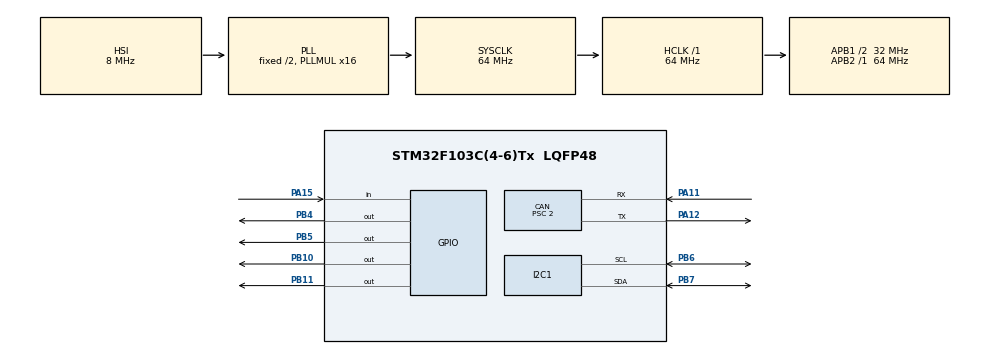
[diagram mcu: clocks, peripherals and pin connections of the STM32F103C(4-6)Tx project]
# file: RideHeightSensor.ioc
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CAN.BS1=CAN_BS1_13TQ
CAN.BS2=CAN_BS2_2TQ
CAN.CalculateBaudRate=1000000
CAN.CalculateTimeBit=1000
CAN.CalculateTimeQuantum=62.5
CAN.Prescaler=2
Mcu.Family=STM32F1
Mcu.Name=STM32F103C(4-6)Tx
Mcu.Package=LQFP48
NVIC.PriorityGroup=NVIC_PRIORITYGROUP_4
PA11.Mode=CAN_Activate
PA11.Signal=CAN_RX
PA12.Mode=CAN_Activate
PA12.Signal=CAN_TX
PA13.Mode=Serial_Wire
PA13.Signal=SYS_JTMS-SWDIO
PA14.Mode=Serial_Wire
PA14.Signal=SYS_JTCK-SWCLK
PA15.Signal=GPIO_Input
PB10.Signal=GPIO_Output
PB11.Signal=GPIO_Output
PB4.Signal=GPIO_Output
PB5.Signal=GPIO_Output
PB6.Mode=I2C
PB6.Signal=I2C1_SCL
PB7.Mode=I2C
PB7.Signal=I2C1_SDA
ProjectManager.HeapSize=0x200
ProjectManager.StackSize=0x400
ProjectManager.TargetToolchain=STM32CubeIDE
RCC.AHBFreq_Value=64000000
RCC.APB1CLKDivider=RCC_HCLK_DIV2
RCC.APB1Freq_Value=32000000
RCC.APB1TimFreq_Value=64000000
RCC.APB2Freq_Value=64000000
RCC.APB2TimFreq_Value=64000000
RCC.HCLKFreq_Value=64000000
RCC.PLLMUL=RCC_PLL_MUL16
RCC.SYSCLKFreq_VALUE=64000000
RCC.SYSCLKSource=RCC_SYSCLKSOURCE_PLLCLK
RCC.USBFreq_Value=64000000
board=custom

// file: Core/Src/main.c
/* USER CODE BEGIN Header */
/* USER CODE END Header */
#include "main.h"
#include "can.h"
#include "i2c.h"
#include "gpio.h"

/* USER CODE BEGIN Includes */
#include "stm32f1xx_hal_can.h"  // CAN standard per STM32F1
/* USER CODE END Includes */

/* USER CODE BEGIN PD */
#define ADS1119_ADDR     (0x40 << 1)  // 7-bit address + R/W bit
#define ADS1119_REG_CONFIG   0x40
#define ADS1119_CMD_START    0x08
#define ADS1119_CMD_READ     0x10
#define ADS1119_CMD_RESET    0x06

//Testato funziona NON MODIFICARE
#define CONFIG_AIN0   0b01100000 // AIN0 - AGND
#define CONFIG_AIN1   0b10000000 // AIN1 - AGND
#define CONFIG_AIN2   0b10100000 // AIN2 - AGND
#define CONFIG_AIN3   0b11000000 // AIN3 - AGND

#define MUX1_A0_B GPIO_PIN_5
#define MUX1_A1_B GPIO_PIN_4

#define MUX2_A0_B GPIO_PIN_11
#define MUX2_A1_B GPIO_PIN_10

/* USER CODE END PD */

/* USER CODE BEGIN PV */

// adc raw value from pin AIN0 AIN1 AIN2 AIN3
int16_t adc_raw[4] = {0,0,0,0};

// PCB analog pin raw value from multiplexer integration with adc
int16_t pt_analog_in_raw[8] = {0,0,0,0,0,0,0,0};
int16_t adc_analog_in_raw[2] = {0,0};
int16_t height_right_analog_in_raw = 0;
int16_t height_left_analog_in_raw = 0;

// PCB analog pin converted to voltage value from PCB raw
float adc_voltage[4] = {0,0,0,0};

float aux_analog_in_voltage[8] = {0,0,0,0,0,0,0,0};
float adc_analog_in_voltage[2] = {0,0};
float height_left_analog_in_voltage = 0;
float height__left_analog_in_voltage = 0;

// CONFIG byte for differential AIN0-AIN1, Gain = 1, 20 SPS, continuous mode
uint8_t config_data[2] = {0x01, 0b00000100};  // Register address + config byte

// Variabili CAN
CAN_TxHeaderTypeDef TxHeader;
uint8_t TxData[8] = {0x01, 0x02, 0x03, 0x04, 0x05, 0x06, 0x07, 0x08};
uint32_t TxMailbox;

/* USER CODE END PV */

void SystemClock_Config(void);
/* USER CODE BEGIN PFP */
void ADS1119_Reset(I2C_HandleTypeDef *hi2c);
void ADS1119_Start(I2C_HandleTypeDef *hi2c);
int16_t ADS1119_Read(I2C_HandleTypeDef *hi2c, int port_number);
void Analog_Read_ALL();

// Prototipo funzione callback CAN
void HAL_CAN_RxFifo0MsgPendingCallback(CAN_HandleTypeDef *hcan);
/* USER CODE END PFP */

int main(void)
{

  /* MCU Configuration--------------------------------------------------------*/

  /* Reset of all peripherals, Initializes the Flash interface and the Systick. */
  HAL_Init();

  /* Configure the system clock */
  SystemClock_Config();

  /* Initialize all configured peripherals */
  MX_GPIO_Init();
  MX_I2C1_Init();
  MX_CAN_Init();
  /* USER CODE BEGIN 2 */
  ADS1119_Reset(&hi2c1);
  ADS1119_Start(&hi2c1);

  // Configure the CAN TX header
  TxHeader.StdId = 0x123;       // Standard CAN ID (11-bit)
  TxHeader.ExtId = 0x00;        // 0 per standard ID
  TxHeader.IDE = CAN_ID_STD;    // Standard ID (not extended)
  TxHeader.RTR = CAN_RTR_DATA;  // Data frame (not remote)
  TxHeader.DLC = 8;             // 8 bytes of data
  TxHeader.TransmitGlobalTime = DISABLE;

  // Start CAN
  if (HAL_CAN_Start(&hcan) != HAL_OK) {
    Error_Handler();
  }

  // Activate CAN RX notifications
  HAL_CAN_ActivateNotification(&hcan, CAN_IT_RX_FIFO0_MSG_PENDING);

  /* USER CODE END 2 */

  /* Infinite loop */
  /* USER CODE BEGIN WHILE */
  while (1)
  {
    Analog_Read_ALL();

    // Invia i dati CAN
    if (HAL_CAN_AddTxMessage(&hcan, &TxHeader, TxData, &TxMailbox) != HAL_OK) {
      Error_Handler();
    }

    HAL_Delay(100);  // Ritardo per evitare di saturare il bus CAN
    /* USER CODE END WHILE */

  }
}

void SystemClock_Config(void)
{
  RCC_OscInitTypeDef RCC_OscInitStruct = {0};
  RCC_ClkInitTypeDef RCC_ClkInitStruct = {0};

  /** Initializes the RCC Oscillators according to the specified parameters
  * in the RCC_OscInitTypeDef structure.
  */
  RCC_OscInitStruct.OscillatorType = RCC_OSCILLATORTYPE_HSI;
  RCC_OscInitStruct.HSIState = RCC_HSI_ON;
  RCC_OscInitStruct.HSICalibrationValue = RCC_HSICALIBRATION_DEFAULT;
  RCC_OscInitStruct.PLL.PLLState = RCC_PLL_ON;
  RCC_OscInitStruct.PLL.PLLSource = RCC_PLLSOURCE_HSI_DIV2;
  RCC_OscInitStruct.PLL.PLLMUL = RCC_PLL_MUL16;
  if (HAL_RCC_OscConfig(&RCC_OscInitStruct) != HAL_OK)
  {
    Error_Handler();
  }

  /** Initializes the CPU, AHB and APB buses clocks
  */
  RCC_ClkInitStruct.ClockType = RCC_CLOCKTYPE_HCLK|RCC_CLOCKTYPE_SYSCLK
                              |RCC_CLOCKTYPE_PCLK1|RCC_CLOCKTYPE_PCLK2;
  RCC_ClkInitStruct.SYSCLKSource = RCC_SYSCLKSOURCE_PLLCLK;
  RCC_ClkInitStruct.AHBCLKDivider = RCC_SYSCLK_DIV1;
  RCC_ClkInitStruct.APB1CLKDivider = RCC_HCLK_DIV2;
  RCC_ClkInitStruct.APB2CLKDivider = RCC_HCLK_DIV1;

  if (HAL_RCC_ClockConfig(&RCC_ClkInitStruct, FLASH_LATENCY_2) != HAL_OK)
  {
    Error_Handler();
  }
}

/* USER CODE BEGIN 4 */

void ADS1119_Reset(I2C_HandleTypeDef *hi2c){
    uint8_t reset_cmd = ADS1119_CMD_RESET;
    HAL_I2C_Master_Transmit(hi2c, ADS1119_ADDR, &reset_cmd, 1, HAL_MAX_DELAY);
    HAL_Delay(5);  // Allow reset time
}

void ADS1119_Start(I2C_HandleTypeDef *hi2c){
    uint8_t start_cmd = ADS1119_CMD_START;
    HAL_I2C_Master_Transmit(hi2c, ADS1119_ADDR, &start_cmd, 1, HAL_MAX_DELAY);
    HAL_Delay(60);
}

int16_t ADS1119_Read(I2C_HandleTypeDef *hi2c, int port_number) {
    HAL_StatusTypeDef ret;
    uint8_t data[2];

    uint8_t config_data[2];
    config_data[0] = ADS1119_REG_CONFIG;

    if (port_number==0)
        config_data[1] = CONFIG_AIN0;
    if (port_number==1)
        config_data[1] = CONFIG_AIN1;
    if (port_number==2)
        config_data[1] = CONFIG_AIN2;
    if (port_number==3)
        config_data[1] = CONFIG_AIN3;

    ret = HAL_I2C_Master_Transmit(hi2c, ADS1119_ADDR, config_data, 2, HAL_MAX_DELAY);
    if (ret != HAL_OK) return -10001;

    ADS1119_Start(hi2c);

    uint8_t read_cmd = ADS1119_CMD_READ;
    ret = HAL_I2C_Master_Transmit(hi2c, ADS1119_ADDR, &read_cmd, 1, HAL_MAX_DELAY);
    if (ret != HAL_OK) return -10003;

    ret = HAL_I2C_Master_Receive(hi2c, ADS1119_ADDR, data, 2, HAL_MAX_DELAY);
    if (ret != HAL_OK) return -10004;

    int16_t adc_result = (data[0] << 8) | data[1];
    return adc_result;
}

void Analog_Read_ALL(){
    // MUX1
    HAL_GPIO_WritePin(GPIOB, MUX1_A1_B, 0);
    HAL_GPIO_WritePin(GPIOB, MUX1_A0_B, 0);
    // MUX2
    HAL_GPIO_WritePin(GPIOB, MUX2_A1_B, 0);
    HAL_GPIO_WritePin(GPIOB, MUX2_A0_B, 0);

    adc_analog_in_raw[0] = ADS1119_Read(&hi2c1,0);   //ADC1
    pt_analog_in_raw[1] = ADS1119_Read(&hi2c1,1);    //PT2
    pt_analog_in_raw[2] = ADS1119_Read(&hi2c1,2);    //PT3
    ADS1119_Read(&hi2c1,3);                          // Not connected

    // MUX1
    HAL_GPIO_WritePin(GPIOB, MUX1_A1_B, 0);
    HAL_GPIO_WritePin(GPIOB, MUX1_A0_B, 1);
    // MUX2
    HAL_GPIO_WritePin(GPIOB, MUX2_A1_B, 0);
    HAL_GPIO_WritePin(GPIOB, MUX2_A0_B, 1);

    ADS1119_Read(&hi2c1,0);                          //Not Connected
    pt_analog_in_raw[7] = ADS1119_Read(&hi2c1,1);    //PT8
    pt_analog_in_raw[4] = ADS1119_Read(&hi2c1,2);    //PT5
    height_left_analog_in_raw = ADS1119_Read(&hi2c1,3);//Height Left

    // MUX1
    HAL_GPIO_WritePin(GPIOB, MUX1_A1_B, 1);
    HAL_GPIO_WritePin(GPIOB, MUX1_A0_B, 0);
    // MUX2
    HAL_GPIO_WritePin(GPIOB, MUX2_A1_B, 1);
    HAL_GPIO_WritePin(GPIOB, MUX2_A0_B, 0);

    pt_analog_in_raw[0] = ADS1119_Read(&hi2c1,0);    //PT1
    pt_analog_in_raw[3] = ADS1119_Read(&hi2c1,1);    //PT4
    pt_analog_in_raw[6] = ADS1119_Read(&hi2c1,2);    //PT7
    ADS1119_Read(&hi2c1,3);                          // Not connected

    // MUX1
    HAL_GPIO_WritePin(GPIOB, MUX1_A1_B, 1);
    HAL_GPIO_WritePin(GPIOB, MUX1_A0_B, 1);
    // MUX2
    HAL_GPIO_WritePin(GPIOB, MUX2_A1_B, 1);
    HAL_GPIO_WritePin(GPIOB, MUX2_A0_B, 1);

    adc_analog_in_raw[1] = ADS1119_Read(&hi2c1,0);   //ADC2
    pt_analog_in_raw[5] = ADS1119_Read(&hi2c1,1);    //PT6
    height_right_analog_in_raw = ADS1119_Read(&hi2c1,2);//Height Right
    ADS1119_Read(&hi2c1,3);                          // Not connected
}

// Callback per la ricezione CAN
void HAL_CAN_RxFifo0MsgPendingCallback(CAN_HandleTypeDef *hcan) {
    CAN_RxHeaderTypeDef RxHeader;
    uint8_t RxData[8];

    if(HAL_CAN_GetRxMessage(hcan, CAN_RX_FIFO0, &RxHeader, RxData) == HAL_OK) {
        // Gestisci qui i messaggi CAN ricevuti
        // RxHeader contiene le informazioni sul messaggio
        // RxData contiene i dati ricevuti
    }
}

/* USER CODE END 4 */

void Error_Handler(void)
{
}
